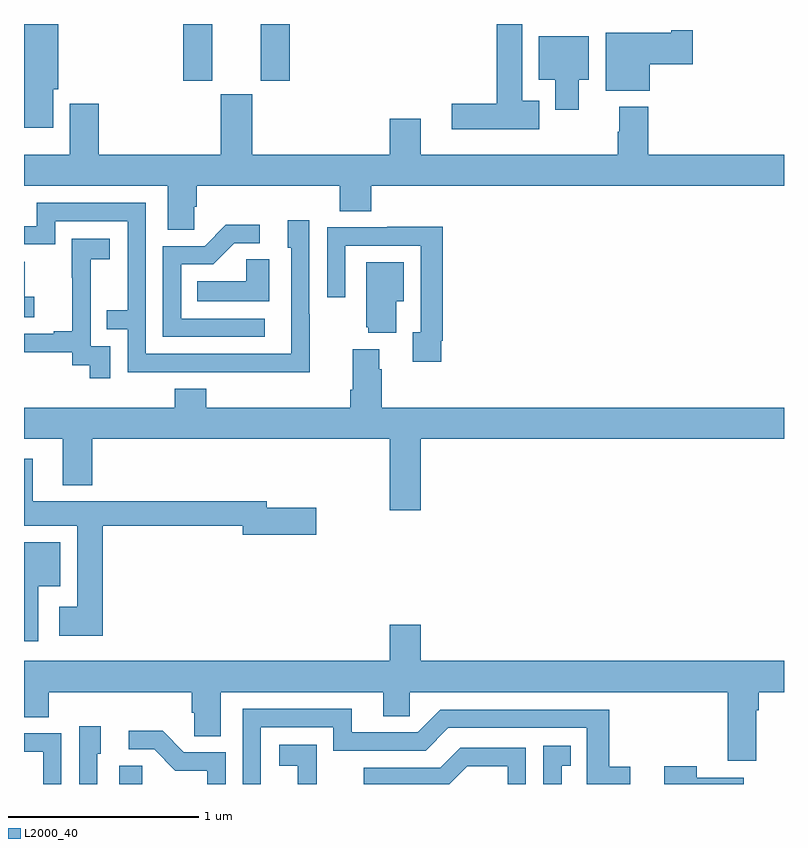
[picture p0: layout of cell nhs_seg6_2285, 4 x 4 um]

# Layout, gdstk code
import gdstk
lib = gdstk.Library(unit=1e-6, precision=1e-09)
def R(c, l, rs):  # rectangles x0, y0, x1, y1
    for r in rs: c.add(gdstk.rectangle(r[:2], r[2:], *l))
def P(c, l, *ps):  # polygons
    for p in ps: c.add(gdstk.Polygon(p, *l))
L2000_40 = (2000, 40)

nhs_seg6_2285 = lib.new_cell('nhs_seg6_2285')
R(nhs_seg6_2285, L2000_40, [(247.502,965.5,247.623,965.597), (247.838,969.201,247.99,969.5), (248.246,969.201,248.399,969.5)])
P(nhs_seg6_2285, L2000_40, [(247.153,969.156),(247.18,969.156),(247.18,969.5),(247,969.5),(247,968.954),(247.153,968.954)],
  [(249.712,969.097),(249.622,969.097),(249.622,969.5),(249.488,969.5),(249.488,969.08),(249.252,969.08),(249.252,968.945),(249.712,968.945)],
  [(250.294,969.289),(250.519,969.289),(250.519,969.467),(250.406,969.467),(250.406,969.454),(250.061,969.454),(250.061,969.149),(250.294,969.149)],
  [(249.919,969.206),(249.973,969.206),(249.973,969.436),(249.71,969.436),(249.71,969.206),(249.797,969.206),(249.797,969.048),(249.919,969.048)],
  [(247.896,968.539),(247.91,968.539),(247.91,968.648),(248.663,968.648),(248.663,968.515),(248.828,968.515),(248.828,968.648),(251,968.648),(251,968.812),(250.286,968.812),(250.286,969.064),(250.133,969.064),(250.133,968.933),(250.126,968.933),(250.126,968.812),(249.088,968.812),(249.088,969.001),(248.924,969.001),(248.924,968.812),(248.2,968.812),(248.2,969.129),(248.036,969.129),(248.036,968.812),(247.394,968.812),(247.394,969.079),(247.241,969.079),(247.241,968.812),(247,968.812),(247,968.648),(247.757,968.648),(247.757,968.416),(247.896,968.416)],
  [(248.505,967.973),(248.502,967.973),(248.502,968.467),(248.387,968.467),(248.387,968.322),(248.406,968.322),(248.406,967.764),(247.641,967.764),(247.641,968.559),(247.067,968.559),(247.067,968.436),(247,968.436),(247,968.34),(247.164,968.34),(247.164,968.463),(247.545,968.463),(247.545,967.994),(247.435,967.994),(247.435,967.893),(247.545,967.893),(247.545,967.668),(248.041,967.668),(248.041,967.667),(248.505,967.667)],
  [(248.266,967.95),(247.827,967.95),(247.827,968.235),(247.996,968.235),(248.107,968.346),(248.242,968.346),(248.242,968.444),(248.063,968.444),(247.95,968.331),(247.731,968.331),(247.731,967.854),(248.266,967.854)],
  [(249.196,967.834),(249.203,967.834),(249.203,968.432),(248.911,968.432),(248.911,968.43),(248.595,968.43),(248.595,968.061),(248.691,968.061),(248.691,968.334),(249.087,968.334),(249.087,967.878),(249.047,967.878),(249.047,967.722),(249.196,967.722)],
  [(247.455,967.803),(247.35,967.803),(247.35,968.033),(247.352,968.033),(247.352,968.261),(247.45,968.261),(247.45,968.371),(247.252,968.371),(247.252,968.165),(247.253,968.165),(247.253,967.882),(247.157,967.882),(247.157,967.869),(247,967.869),(247,967.773),(247.254,967.773),(247.254,967.705),(247.347,967.705),(247.347,967.635),(247.455,967.635)],
  [(248.29,968.261),(248.169,968.261),(248.169,968.146),(247.912,968.146),(247.912,968.042),(248.29,968.042)],
  [(247.054,968.065),(247.005,968.065),(247.005,968.25),(247,968.25),(247,967.956),(247.054,967.956)],
  [(248.959,968.042),(248.998,968.042),(248.998,968.245),(248.801,968.245),(248.801,967.905),(248.813,967.905),(248.813,967.874),(248.959,967.874)],
  [(249.088,967.316),(251,967.316),(251,967.48),(248.882,967.48),(248.882,967.682),(248.869,967.682),(248.869,967.789),(248.729,967.789),(248.729,967.576),(248.717,967.576),(248.717,967.48),(247.958,967.48),(247.958,967.579),(247.793,967.579),(247.793,967.48),(247,967.48),(247,967.316),(247.205,967.316),(247.205,967.073),(247.358,967.073),(247.358,967.316),(248.924,967.316),(248.924,966.942),(249.088,966.942)],
  [(247.415,966.859),(248.15,966.859),(248.15,966.812),(248.539,966.812),(248.539,966.954),(248.278,966.954),(248.278,966.988),(247.045,966.988),(247.045,967.213),(247,967.213),(247,966.86),(247.28,966.86),(247.28,966.433),(247.185,966.433),(247.185,966.281),(247.415,966.281)],
  [(247.075,966.542),(247.192,966.542),(247.192,966.772),(247,966.772),(247,966.252),(247.075,966.252)],
  [(250.855,965.888),(250.868,965.888),(250.868,965.984),(251,965.984),(251,966.148),(249.088,966.148),(249.088,966.337),(248.924,966.337),(248.924,966.148),(247,966.148),(247,965.851),(247.13,965.851),(247.13,965.984),(247.883,965.984),(247.883,965.875),(247.896,965.875),(247.896,965.752),(248.035,965.752),(248.035,965.984),(248.891,965.984),(248.891,965.857),(249.03,965.857),(249.03,965.984),(250.703,965.984),(250.703,965.622),(250.855,965.622)],
  [(248.247,965.799),(248.628,965.799),(248.628,965.676),(249.114,965.676),(249.234,965.796),(249.963,965.796),(249.963,965.5),(250.19,965.5),(250.19,965.59),(250.079,965.59),(250.079,965.892),(249.192,965.892),(249.072,965.772),(248.725,965.772),(248.725,965.895),(248.151,965.895),(248.151,965.5),(248.247,965.5)],
  [(247.386,965.658),(247.405,965.658),(247.405,965.803),(247.29,965.803),(247.29,965.5),(247.386,965.5)],
  [(248.061,965.667),(247.842,965.667),(247.729,965.78),(247.551,965.78),(247.551,965.682),(247.685,965.682),(247.796,965.571),(247.965,965.571),(247.965,965.5),(248.061,965.5)],
  [(247.197,965.766),(247,965.766),(247,965.67),(247.101,965.67),(247.101,965.5),(247.197,965.5)],
  [(248.54,965.501),(248.541,965.501),(248.541,965.707),(248.343,965.707),(248.343,965.597),(248.441,965.597),(248.441,965.5),(248.54,965.5)],
  [(249.829,965.595),(249.878,965.595),(249.878,965.701),(249.732,965.701),(249.732,965.5),(249.829,965.5)],
  [(249.332,965.594),(249.546,965.594),(249.546,965.5),(249.642,965.5),(249.642,965.691),(249.296,965.691),(249.191,965.586),(248.788,965.586),(248.788,965.5),(249.238,965.5)],
  [(250.789,965.533),(250.541,965.533),(250.541,965.593),(250.37,965.593),(250.37,965.5),(250.789,965.5)])

lib.write_gds('nhs_seg6_2285.gds')
